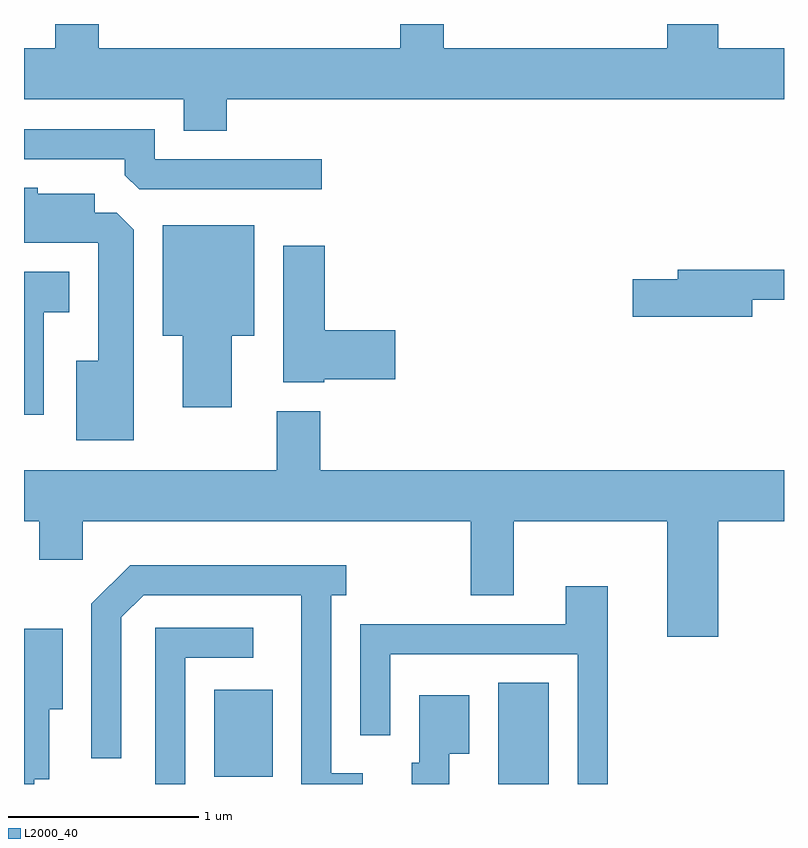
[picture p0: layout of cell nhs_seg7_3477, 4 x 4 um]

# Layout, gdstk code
import gdstk
lib = gdstk.Library(unit=1e-6, precision=1e-09)
def R(c, l, rs):  # rectangles x0, y0, x1, y1
    for r in rs: c.add(gdstk.rectangle(r[:2], r[2:], *l))
def P(c, l, *ps):  # polygons
    for p in ps: c.add(gdstk.Polygon(p, *l))
L2000_40 = (2000, 40)

nhs_seg7_3477 = lib.new_cell('nhs_seg7_3477')
R(nhs_seg7_3477, L2000_40, [(294.106,1726.252,294.374,1726.784), (292.611,1726.291,292.919,1726.749)])
P(nhs_seg7_3477, L2000_40, [(292.679,1729.856),(295.611,1729.856),(295.611,1730.124),(295.264,1730.124),(295.264,1730.252),(294.996,1730.252),(294.996,1730.124),(293.819,1730.124),(293.819,1730.252),(293.591,1730.252),(293.591,1730.124),(292.004,1730.124),(292.004,1730.252),(291.776,1730.252),(291.776,1730.124),(291.611,1730.124),(291.611,1729.856),(292.451,1729.856),(292.451,1729.691),(292.679,1729.691)],
  [(293.178,1729.539),(292.299,1729.539),(292.299,1729.699),(291.611,1729.699),(291.611,1729.541),(292.141,1729.541),(292.141,1729.457),(292.217,1729.381),(293.178,1729.381)],
  [(292.189,1729.169),(292.099,1729.259),(291.984,1729.259),(291.984,1729.359),(291.684,1729.359),(291.684,1729.389),(291.611,1729.389),(291.611,1729.101),(292.001,1729.101),(292.001,1728.479),(291.886,1728.479),(291.886,1728.061),(292.189,1728.061)],
  [(292.704,1728.611),(292.824,1728.611),(292.824,1729.194),(292.341,1729.194),(292.341,1728.611),(292.446,1728.611),(292.446,1728.236),(292.704,1728.236)],
  [(293.19,1728.381),(293.564,1728.381),(293.564,1728.639),(293.194,1728.639),(293.194,1729.084),(292.976,1729.084),(292.976,1728.366),(293.19,1728.366)],
  [(295.444,1728.801),(295.611,1728.801),(295.611,1728.959),(295.051,1728.959),(295.051,1728.909),(294.816,1728.909),(294.816,1728.711),(295.444,1728.711)],
  [(291.714,1728.736),(291.849,1728.736),(291.849,1728.949),(291.611,1728.949),(291.611,1728.196),(291.714,1728.196)],
  [(295.264,1727.636),(295.611,1727.636),(295.611,1727.904),(293.169,1727.904),(293.169,1728.214),(292.941,1728.214),(292.941,1727.904),(291.611,1727.904),(291.611,1727.636),(291.691,1727.636),(291.691,1727.431),(291.919,1727.431),(291.919,1727.636),(293.961,1727.636),(293.961,1727.246),(294.189,1727.246),(294.189,1727.636),(294.996,1727.636),(294.996,1727.026),(295.264,1727.026)],
  [(293.393,1726.309),(293.229,1726.309),(293.229,1727.246),(293.308,1727.246),(293.308,1727.404),(292.169,1727.404),(291.966,1727.202),(291.966,1726.388),(292.124,1726.388),(292.124,1727.129),(292.242,1727.246),(293.071,1727.246),(293.071,1726.252),(293.393,1726.252)],
  [(294.684,1727.294),(294.461,1727.294),(294.461,1727.094),(293.381,1727.094),(293.381,1726.508),(293.539,1726.508),(293.539,1726.936),(294.526,1726.936),(294.526,1726.252),(294.684,1726.252)],
  [(292.459,1726.916),(292.818,1726.916),(292.818,1727.074),(292.301,1727.074),(292.301,1726.252),(292.459,1726.252)],
  [(291.664,1726.276),(291.744,1726.276),(291.744,1726.646),(291.814,1726.646),(291.814,1727.069),(291.611,1727.069),(291.611,1726.252),(291.664,1726.252)],
  [(293.849,1726.411),(293.954,1726.411),(293.954,1726.719),(293.691,1726.719),(293.691,1726.364),(293.651,1726.364),(293.651,1726.252),(293.849,1726.252)])

lib.write_gds('nhs_seg7_3477.gds')
